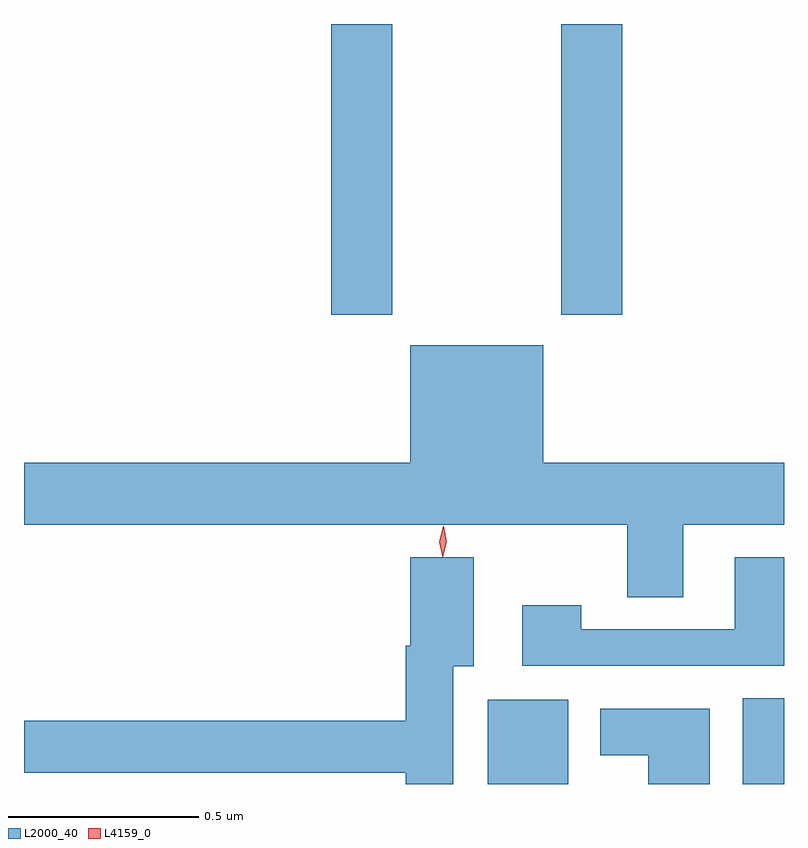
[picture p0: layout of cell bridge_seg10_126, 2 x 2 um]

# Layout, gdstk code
import gdstk
lib = gdstk.Library(unit=1e-6, precision=1e-09)
def R(c, l, rs):  # rectangles x0, y0, x1, y1
    for r in rs: c.add(gdstk.rectangle(r[:2], r[2:], *l))
def P(c, l, *ps):  # polygons
    for p in ps: c.add(gdstk.Polygon(p, *l))
L2000_40 = (2000, 40)
L4159_0 = (4159, 0)

bridge_seg10_126 = lib.new_cell('bridge_seg10_126')
R(bridge_seg10_126, L2000_40, [(379.13,1266.334,379.342,1266.556), (379.802,1266.334,379.91,1266.56), (378.719,1267.569,378.879,1268.334), (379.324,1267.569,379.484,1268.334)])
P(bridge_seg10_126, L2000_40, [(379.645,1267.016),(379.91,1267.016),(379.91,1267.18),(379.276,1267.18),(379.276,1267.489),(378.926,1267.489),(378.926,1267.18),(377.91,1267.18),(377.91,1267.016),(379.498,1267.016),(379.498,1266.826),(379.645,1266.826)],
  [(379.91,1266.931),(379.781,1266.931),(379.781,1266.741),(379.377,1266.741),(379.377,1266.805),(379.221,1266.805),(379.221,1266.645),(379.91,1266.645)],
  [(379.039,1266.644),(379.093,1266.644),(379.093,1266.931),(378.926,1266.931),(378.926,1266.698),(378.914,1266.698),(378.914,1266.5),(377.91,1266.5),(377.91,1266.364),(378.914,1266.364),(378.914,1266.334),(379.039,1266.334)],
  [(379.714,1266.532),(379.427,1266.532),(379.427,1266.41),(379.553,1266.41),(379.553,1266.334),(379.714,1266.334)])
P(bridge_seg10_126, L4159_0, [(379.012,1266.931),(379.012,1266.931),(379.003,1266.971),(379.013,1267.012),(379.013,1267.012),(379.014,1267.012),(379.023,1266.971),(379.012,1266.931)])

lib.write_gds('bridge_seg10_126.gds')
